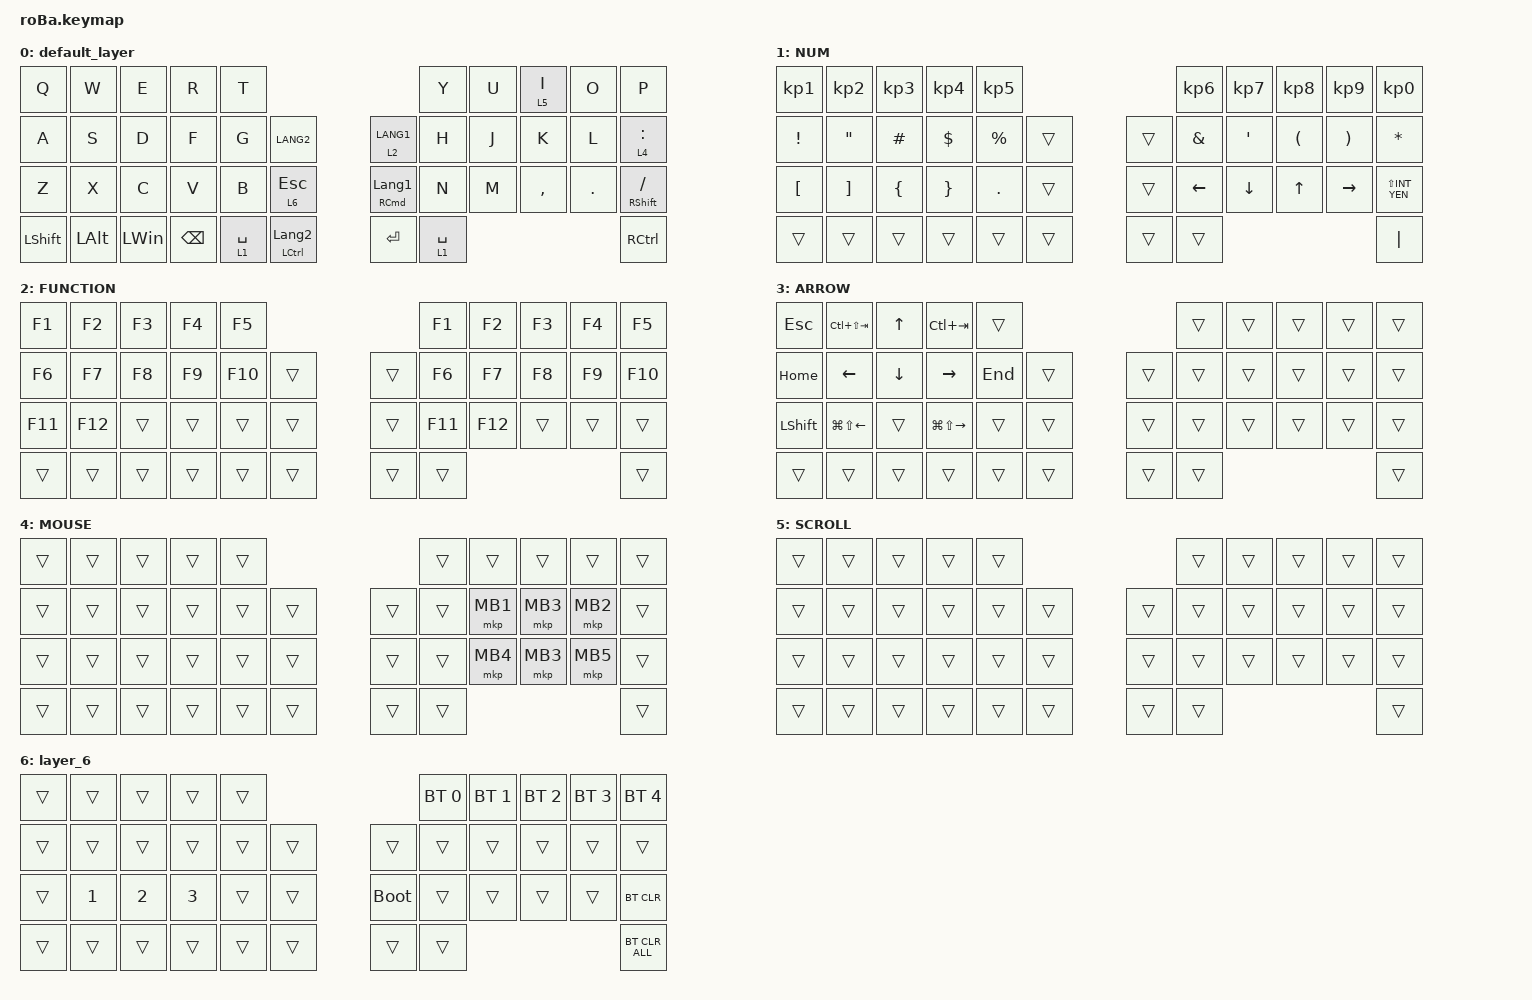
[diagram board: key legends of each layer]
#include <behaviors.dtsi>
#include <dt-bindings/zmk/bt.h>
#include <dt-bindings/zmk/keys.h>
#include <dt-bindings/zmk/pointing.h>

&mt {
    flavor = "balanced";
    quick-tap-ms = <0>;
};

&trackball {
    automouse-layer = <4>;
    scroll-layers = <5>;

    // arrows {
    //     layers = <3>;
    //     bindings =
    //         <&kp RIGHT_ARROW>,
    //         <&kp LEFT_ARROW>,
    //         <&kp UP_ARROW>,
    //         <&kp DOWN_ARROW>;
    //     tick = <10>;
    //     wait-ms = <5>;
    //     tap-ms = <5>;
    // };
};

/ {
    combos {
        compatible = "zmk,combos";

        tab {
            bindings = <&kp TAB>;
            key-positions = <11 12>;
        };

        at_sign {
            bindings = <&kp AT>;
            key-positions = <19 20>;
        };

        tilde {
            bindings = <&kp TILDE>;
            key-positions = <7 8>;
        };

        minus {
            bindings = <&kp MINUS>;
            key-positions = <8 9>;
        };

        equal {
            bindings = <&kp EQUAL>;
            key-positions = <21 20>;
        };

        grove_accent {
            bindings = <&kp GRAVE>;
            key-positions = <18 19>;
        };

        mouse_click_left {
            bindings = <&mkp MB1>;
            key-positions = <30 31>;
        };

        mouse_click_right {
            bindings = <&mkp MB2>;
            key-positions = <31 32>;
        };
    };

    macros {
        to_layer_0: to_layer_0 {
            compatible = "zmk,behavior-macro-one-param";
            #binding-cells = <1>;
            bindings = <&to 0 &macro_param_1to1 &kp MACRO_PLACEHOLDER>;
            label = "TO_LAYER_0";
        };
    };

    behaviors {
        lt_to_layer_0: lt_to_layer_0 {
            compatible = "zmk,behavior-hold-tap";
            label = "LAYER_TAP_TO_0";
            bindings = <&mo>, <&to_layer_0>;

            #binding-cells = <2>;
            tapping-term-ms = <200>;
        };
    };

    keymap {
        compatible = "zmk,keymap";

        default_layer {
            bindings = <
&kp Q           &kp W         &kp E         &kp R          &kp T                                                                       &kp Y        &kp U  &lt 5 I    &kp O    &kp P
&kp A           &kp S         &kp D         &kp F          &kp G        &kp LANG2                        &lt 2 LANG1                   &kp H        &kp J  &kp K      &kp L    &lt 4 COLON
&kp Z           &kp X         &kp C         &kp V          &kp B        &lt 6 ESCAPE                     &mt RIGHT_COMMAND LANGUAGE_1  &kp N        &kp M  &kp COMMA  &kp DOT  &mt RIGHT_SHIFT SLASH
&kp LEFT_SHIFT  &kp LEFT_ALT  &kp LEFT_WIN  &kp BACKSPACE  &lt 1 SPACE  &mt LEFT_CONTROL LANGUAGE_2      &kp ENTER                     &lt 1 SPACE                             &kp RIGHT_CONTROL
            >;
        };

        NUM {
            bindings = <
&kp KP_NUMBER_1   &kp KP_NUMBER_2    &kp KP_NUMBER_3  &kp KP_NUMBER_4  &kp KP_NUMBER_5                      &kp KP_NUMBER_6  &kp KP_NUMBER_7   &kp KP_NUMBER_8       &kp KP_NUMBER_9        &kp KP_NUMBER_0
&kp EXCLAMATION   &kp DOUBLE_QUOTES  &kp HASH         &kp DOLLAR       &kp PERCENT      &trans      &trans  &kp AMPERSAND    &kp SINGLE_QUOTE  &kp LEFT_PARENTHESIS  &kp RIGHT_PARENTHESIS  &kp ASTRK
&kp LEFT_BRACKET  &kp RIGHT_BRACKET  &kp LEFT_BRACE   &kp RIGHT_BRACE  &kp PERIOD       &trans      &trans  &kp LEFT_ARROW   &kp DOWN_ARROW    &kp UP_ARROW          &kp RIGHT_ARROW        &kp LS(INT_YEN)
&trans            &trans             &trans           &trans           &trans           &trans      &trans  &trans                                                                          &kp PIPE
            >;
        };

        FUNCTION {
            bindings = <
&kp F1   &kp F2   &kp F3  &kp F4  &kp F5                       &kp F1   &kp F2   &kp F3  &kp F4  &kp F5
&kp F6   &kp F7   &kp F8  &kp F9  &kp F10  &trans      &trans  &kp F6   &kp F7   &kp F8  &kp F9  &kp F10
&kp F11  &kp F12  &trans  &trans  &trans   &trans      &trans  &kp F11  &kp F12  &trans  &trans  &trans
&trans   &trans   &trans  &trans  &trans   &trans      &trans  &trans                            &trans
            >;
        };

        ARROW {
            bindings = <
&kp ESCAPE      &kp LC(LS(TAB))         &kp UP_ARROW    &kp LC(TAB)              &trans                       &trans  &trans  &trans  &trans  &trans
&kp HOME        &kp LEFT_ARROW          &kp DOWN_ARROW  &kp RIGHT_ARROW          &kp END  &trans      &trans  &trans  &trans  &trans  &trans  &trans
&kp LEFT_SHIFT  &kp LG(LS(LEFT_ARROW))  &trans          &kp LG(LS(RIGHT_ARROW))  &trans   &trans      &trans  &trans  &trans  &trans  &trans  &trans
&trans          &trans                  &trans          &trans                   &trans   &trans      &trans  &trans                          &trans
            >;
        };

        MOUSE {
            bindings = <
&trans  &trans  &trans  &trans  &trans                      &trans  &trans    &trans    &trans    &trans
&trans  &trans  &trans  &trans  &trans  &trans      &trans  &trans  &mkp MB1  &mkp MB3  &mkp MB2  &trans
&trans  &trans  &trans  &trans  &trans  &trans      &trans  &trans  &mkp MB4  &mkp MB3  &mkp MB5  &trans
&trans  &trans  &trans  &trans  &trans  &trans      &trans  &trans                                &trans
            >;
        };

        SCROLL {
            bindings = <
&trans  &trans  &trans  &trans  &trans                      &trans  &trans  &trans  &trans  &trans
&trans  &trans  &trans  &trans  &trans  &trans      &trans  &trans  &trans  &trans  &trans  &trans
&trans  &trans  &trans  &trans  &trans  &trans      &trans  &trans  &trans  &trans  &trans  &trans
&trans  &trans  &trans  &trans  &trans  &trans      &trans  &trans                          &trans
            >;
        };

        layer_6 {
            bindings = <
&trans  &trans        &trans        &trans        &trans                           &bt BT_SEL 0  &bt BT_SEL 1  &bt BT_SEL 2  &bt BT_SEL 3  &bt BT_SEL 4
&trans  &trans        &trans        &trans        &trans  &trans      &trans       &trans        &trans        &trans        &trans        &trans
&trans  &kp NUMBER_1  &kp NUMBER_2  &kp NUMBER_3  &trans  &trans      &bootloader  &trans        &trans        &trans        &trans        &bt BT_CLR
&trans  &trans        &trans        &trans        &trans  &trans      &trans       &trans                                                  &bt BT_CLR_ALL
            >;
        };
    };
};
